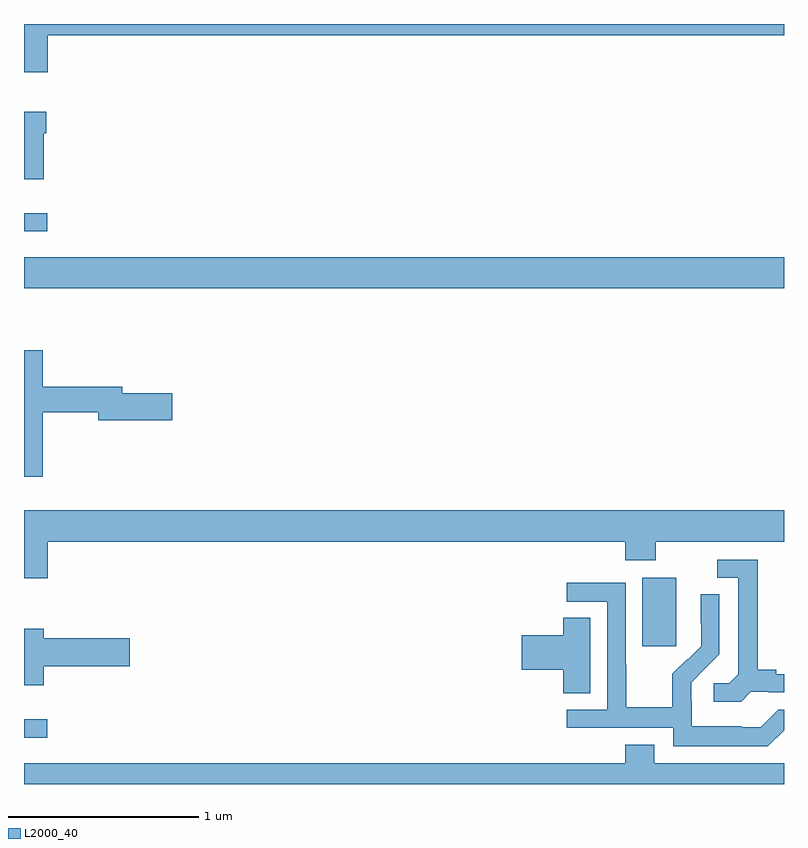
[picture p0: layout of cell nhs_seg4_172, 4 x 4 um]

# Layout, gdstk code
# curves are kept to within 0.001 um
import gdstk
lib = gdstk.Library(unit=1e-6, precision=1e-09)
def R(c, l, rs):  # rectangles x0, y0, x1, y1
    for r in rs: c.add(gdstk.rectangle(r[:2], r[2:], *l))
def P(c, l, *ps):  # polygons
    for p in ps: c.add(gdstk.Polygon(p, *l))
L2000_40 = (2000, 40)

nhs_seg4_172 = lib.new_cell('nhs_seg4_172')
R(nhs_seg4_172, L2000_40, [(119,773.144,119.122,773.241), (122.255,773.625,122.434,773.986), (119,775.508,123,775.672), (119,775.808,119.122,775.905)])
P(nhs_seg4_172, L2000_40, [(119.126,776.84),(123,776.84),(123,776.9),(119,776.9),(119,776.646),(119.126,776.646)],
  [(119.104,776.324),(119.117,776.324),(119.117,776.437),(119,776.437),(119,776.084),(119.104,776.084)],
  [(119.099,774.856),(119.39,774.856),(119.39,774.814),(119.779,774.814),(119.779,774.956),(119.518,774.956),(119.518,774.992),(119.099,774.992),(119.099,775.183),(119,775.183),(119,774.516),(119.099,774.516)],
  [(119.126,774.176),(122.165,774.176),(122.165,774.077),(122.325,774.077),(122.325,774.176),(123,774.176),(123,774.34),(119,774.34),(119,773.982),(119.126,773.982)],
  [(122.826,773.385),(122.92,773.385),(122.92,773.382),(123,773.382),(123,773.478),(122.959,773.478),(122.959,773.501),(122.863,773.501),(122.863,774.081),(122.649,774.081),(122.649,773.985),(122.759,773.985),(122.759,773.477),(122.712,773.43),(122.631,773.43),(122.631,773.333),(122.774,773.333)],
  [(123,773.184),(123,773.292),(122.97,773.292),(122.877,773.199),(122.777,773.199),(122.777,773.203),(122.514,773.203),(122.514,773.337),(122.512,773.337),(122.512,773.434),(122.658,773.582),(122.658,773.9),(122.562,773.9),(122.562,773.746),(122.564,773.746),(122.564,773.624),(122.493,773.553),(122.49,773.556),(122.413,773.479),(122.413,773.305),(122.169,773.305),(122.169,773.528),(122.166,773.528),(122.166,773.958),(121.857,773.958),(121.857,773.859),(122.07,773.859),(122.07,773.292),(121.857,773.292),(121.857,773.196),(122.418,773.196),(122.418,773.099),(122.915,773.099)],
  [(121.981,773.774),(121.838,773.774),(121.838,773.684),(121.62,773.684),(121.62,773.501),(121.838,773.501),(121.838,773.377),(121.981,773.377)],
  [(119.104,773.519),(119.557,773.519),(119.557,773.666),(119.104,773.666),(119.104,773.716),(119,773.716),(119,773.42),(119.104,773.42)],
  [(123,773.008),(122.317,773.008),(122.317,773.107),(122.165,773.107),(122.165,773.008),(119,773.008),(119,772.9),(123,772.9)])

lib.write_gds('nhs_seg4_172.gds')
